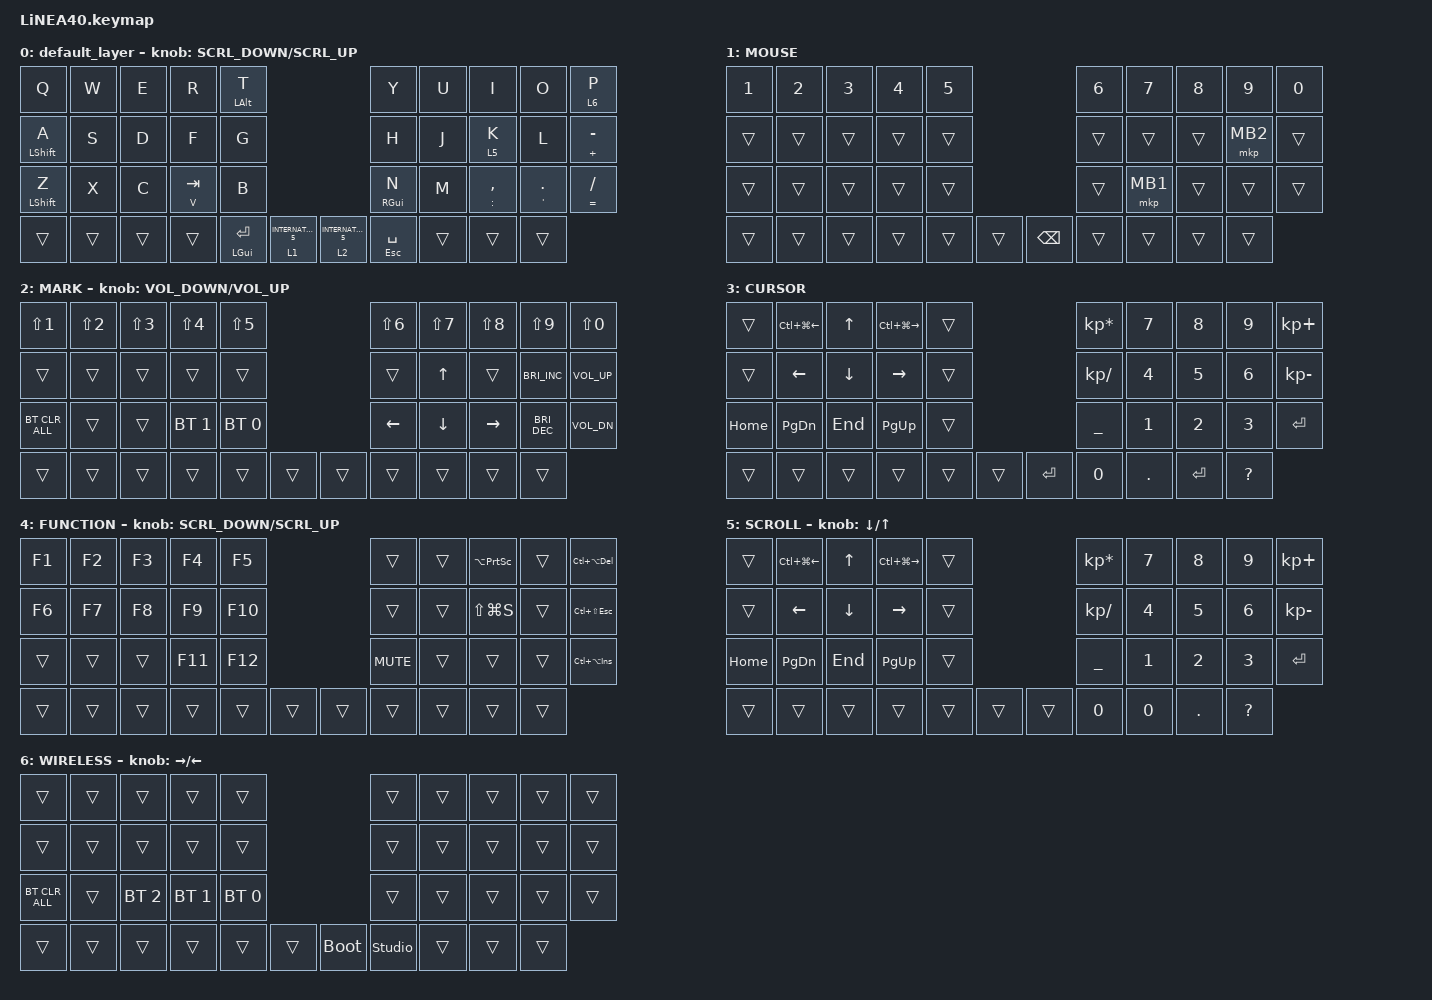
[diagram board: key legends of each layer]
#define ZMK_POINTING_DEFAULT_SCRL_VAL 150

#include <dt-bindings/zmk/input_transform.h>
#include <input/processors.dtsi>
#include <zephyr/dt-bindings/input/input-event-codes.h>
#include <behaviors.dtsi>
#include <dt-bindings/zmk/bt.h>
#include <dt-bindings/zmk/keys.h>
#include <dt-bindings/zmk/pointing.h>

#define MOUSE 1
#define MARK 2
#define CURSOR 3
#define FUNCTION 4
#define SCROLL 5
#define WIRELESS 6

//mouse cursol

&mmv {
    delay-ms = <20>;
    trigger-period-ms = <5>;
    time-to-max-speed-ms = <100>;
    acceleration-exponent = <2>;
};

//mouse scroll

&msc {
    delay-ms = <3>;
    trigger-period-ms = <3>;
    time-to-max-speed-ms = <100>;
    acceleration-exponent = <0>;
};

/ {
    input_processors {
        zip_wheel_scaler: zip_wheel_scaler {
            compatible = "zmk,input-processor-scaler";
            #input-processor-cells = <2>;
            type = <INPUT_EV_REL>;
            codes = <INPUT_REL_WHEEL>;
            track-remainders;
        };
    };
};

&msc_input_listener {
    speed_up {
        layers = <FUNCTION>;
        input-processors = <&zip_wheel_scaler 1 18>; //スクロールを3倍速にする
    };
};

&trackball_listener {
    scroller {
        layers = <SCROLL>;
        input-processors =
            <&zip_xy_transform INPUT_TRANSFORM_Y_INVERT>,
            //スクロール方向を逆転,,,,,,,,,,,,,
            <&zip_xy_to_scroll_mapper>;
    };
};

/ {
    combos {
        compatible = "zmk,combos";

        DeleteKey {
            bindings = <&kp DEL>;
            key-positions = <7 8>;
        };

        henkan {
            bindings = <&kp F13>;
            key-positions = <1 2>;
        };

        Escape {
            bindings = <&kp ESC>;
            key-positions = <18 17>;
        };
    };

    behaviors {
        re_kp: sensor_rotate_kp {
            compatible = "zmk,behavior-sensor-rotate-var";
            #sensor-binding-cells = <2>;
            bindings = <&kp>, <&kp>;
        };

        mouse_scrl: mouse_wheel_scrl {
            compatible = "zmk,behavior-sensor-rotate-var";
            #sensor-binding-cells = <2>;
            bindings = <&msc>, <&msc>;

            tap-ms = <20>;
        };
    };

    keymap {
        compatible = "zmk,keymap";

        default_layer {
            bindings = <
&kp Q             &kp W   &kp E   &kp R      &mt LEFT_ALT T                                                      &kp Y             &kp U  &kp I            &kp O            &lt 6 P
&mt LEFT_SHIFT A  &kp S   &kp D   &kp F      &kp G                                                               &kp H             &kp J  &lt 5 K          &kp L            &mt PLUS MINUS
&mt LEFT_SHIFT Z  &kp X   &kp C   &mt V TAB  &kp B                                                               &mt RGUI N        &kp M  &mt COLON COMMA  &mt APOS PERIOD  &mt EQUAL SLASH
&trans            &trans  &trans  &trans     &mt LEFT_GUI ENTER  &lt 1 INTERNATIONAL_5    &lt 2 INTERNATIONAL_5  &mt ESCAPE SPACE         &trans           &trans           &trans
            >;

            sensor-bindings = <&mouse_scrl SCRL_DOWN SCRL_UP>;
        };

        //1

        MOUSE {
            bindings = <
&kp NUMBER_1  &kp NUMBER_2  &kp NUMBER_3  &kp NUMBER_4  &kp N5                           &kp NUMBER_6  &kp N7    &kp N8  &kp N9    &kp N0
&trans        &trans        &trans        &trans        &trans                           &trans        &trans    &trans  &mkp MB2  &trans
&trans        &trans        &trans        &trans        &trans                           &trans        &mkp MB1  &trans  &trans    &trans
&trans        &trans        &trans        &trans        &trans  &trans    &kp BACKSPACE  &trans                  &trans  &trans    &trans
            >;
        };

        //2

        MARK {
            bindings = <
&kp LS(NUMBER_1)  &kp LS(NUMBER_2)  &kp LS(NUMBER_3)  &kp LS(NUMBER_4)  &kp LS(N5)                      &kp LS(NUMBER_6)  &kp LS(N7)      &kp LS(N8)       &kp LS(N9)     &kp LS(N0)
&trans            &trans            &trans            &trans            &trans                          &trans            &kp UP_ARROW    &trans           &kp C_BRI_INC  &kp C_VOL_UP
&bt BT_CLR_ALL    &trans            &trans            &bt BT_SEL 1      &bt BT_SEL 0                    &kp LEFT          &kp DOWN_ARROW  &kp RIGHT_ARROW  &kp C_BRI_DEC  &kp C_VOL_DN
&trans            &trans            &trans            &trans            &trans        &trans    &trans  &trans                            &trans           &trans         &trans
            >;

            sensor-bindings = <&re_kp C_VOLUME_DOWN C_VOLUME_UP>;
        };

        //3

        CURSOR {
            bindings = <
&trans    &kp LC(LG(LEFT_ARROW))  &kp UP_ARROW  &kp LC(LG(RIGHT_ARROW))  &trans                       &kp KP_MULTIPLY  &kp NUMBER_7  &kp NUMBER_8  &kp NUMBER_9  &kp KP_PLUS
&trans    &kp LEFT_ARROW          &kp DOWN      &kp RIGHT_ARROW          &trans                       &kp KP_SLASH     &kp NUMBER_4  &kp NUMBER_5  &kp NUMBER_6  &kp KP_MINUS
&kp HOME  &kp PAGE_DOWN           &kp END       &kp PAGE_UP              &trans                       &kp UNDER        &kp NUMBER_1  &kp NUMBER_2  &kp NUMBER_3  &kp ENTER
&trans    &trans                  &trans        &trans                   &trans  &trans    &kp ENTER  &kp NUMBER_0                   &kp DOT       &kp ENTER     &kp QUESTION
            >;
        };

        //4

        FUNCTION {
            bindings = <
&kp F1  &kp F2  &kp F3  &kp F4   &kp F5                     &trans      &trans  &kp LA(PRINTSCREEN)  &trans  &kp LC(LA(DELETE))
&kp F6  &kp F7  &kp F8  &kp F9   &kp F10                    &trans      &trans  &kp LS(LG(S))        &trans  &kp LC(LS(ESCAPE))
&trans  &trans  &trans  &kp F11  &kp F12                    &kp C_MUTE  &trans  &trans               &trans  &kp LC(LA(INS))
&trans  &trans  &trans  &trans   &trans   &trans    &trans  &trans              &trans               &trans  &trans
            >;

            sensor-bindings = <&mouse_scrl SCRL_DOWN SCRL_UP>;
        };

        //5

        SCROLL {
            bindings = <
&trans    &kp LC(LG(LEFT_ARROW))  &kp UP_ARROW  &kp LC(LG(RIGHT_ARROW))  &trans                    &kp KP_MULTIPLY  &kp NUMBER_7  &kp NUMBER_8  &kp NUMBER_9  &kp KP_PLUS
&trans    &kp LEFT_ARROW          &kp DOWN      &kp RIGHT_ARROW          &trans                    &kp KP_SLASH     &kp NUMBER_4  &kp NUMBER_5  &kp NUMBER_6  &kp KP_MINUS
&kp HOME  &kp PAGE_DOWN           &kp END       &kp PAGE_UP              &trans                    &kp UNDER        &kp NUMBER_1  &kp NUMBER_2  &kp NUMBER_3  &kp ENTER
&trans    &trans                  &trans        &trans                   &trans  &trans    &trans  &kp NUMBER_0                   &kp NUMBER_0  &kp DOT       &kp QUESTION
            >;

            sensor-bindings = <&inc_dec_kp DOWN_ARROW UP_ARROW>;
        };

        //6

        WIRELESS {
            bindings = <
&trans          &trans  &trans        &trans        &trans                               &trans          &trans  &trans  &trans  &trans
&trans          &trans  &trans        &trans        &trans                               &trans          &trans  &trans  &trans  &trans
&bt BT_CLR_ALL  &trans  &bt BT_SEL 2  &bt BT_SEL 1  &bt BT_SEL 0                         &trans          &trans  &trans  &trans  &trans
&trans          &trans  &trans        &trans        &trans        &trans    &bootloader  &studio_unlock          &trans  &trans  &trans
            >;

            sensor-bindings = <&inc_dec_kp RIGHT_ARROW LEFT_ARROW>;
        };
    };
};
